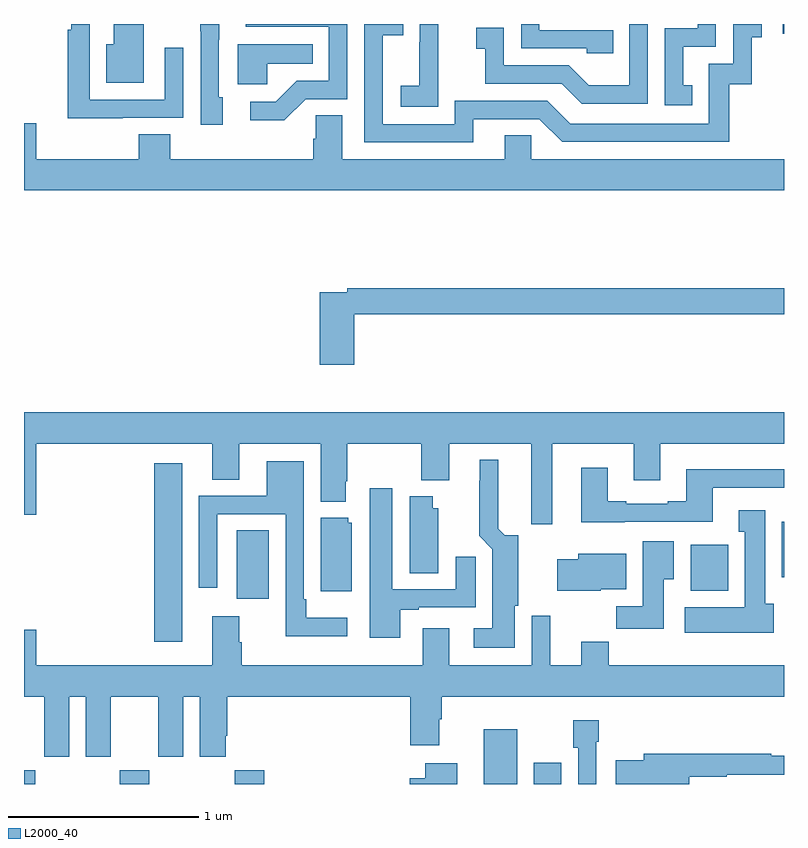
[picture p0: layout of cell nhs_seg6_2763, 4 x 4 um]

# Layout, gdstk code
import gdstk
lib = gdstk.Library(unit=1e-6, precision=1e-09)
def R(c, l, rs):  # rectangles x0, y0, x1, y1
    for r in rs: c.add(gdstk.rectangle(r[:2], r[2:], *l))
def P(c, l, *ps):  # polygons
    for p in ps: c.add(gdstk.Polygon(p, *l))
L2000_40 = (2000, 40)

nhs_seg6_2763 = lib.new_cell('nhs_seg6_2763')
R(nhs_seg6_2763, L2000_40, [(273,989.5,273.06,989.572), (273.505,989.5,273.66,989.572), (274.109,989.5,274.265,989.572), (275.42,989.5,275.596,989.788), (275.684,989.5,275.827,989.611), (273.686,990.249,273.832,991.189), (274.121,990.474,274.288,990.836), (276.509,990.518,276.706,990.76), (276.989,990.588,277,990.88), (276.993,993.45,277,993.5)])
P(nhs_seg6_2763, L2000_40, [(273.631,993.5),(273.473,993.5),(273.473,993.394),(273.434,993.394),(273.434,993.191),(273.631,993.191)],
  [(274.045,993.114),(274.026,993.114),(274.026,993.418),(274.027,993.418),(274.027,993.5),(273.928,993.5),(273.928,993.463),(273.93,993.463),(273.93,992.97),(274.045,992.97)],
  [(275.365,993),(275.712,993),(275.832,992.88),(276.712,992.88),(276.712,993.183),(276.83,993.183),(276.83,993.429),(276.883,993.429),(276.883,993.5),(276.732,993.5),(276.732,993.291),(276.603,993.291),(276.603,992.976),(275.874,992.976),(275.754,993.096),(275.268,993.096),(275.268,992.973),(274.887,992.973),(274.887,993.442),(274.997,993.442),(274.997,993.5),(274.791,993.5),(274.791,992.877),(275.365,992.877)],
  [(273.521,993.006),(273.837,993.006),(273.837,993.376),(273.741,993.376),(273.741,993.102),(273.345,993.102),(273.345,993.5),(273.248,993.5),(273.248,993.47),(273.229,993.47),(273.229,993.005),(273.521,993.005)],
  [(274.482,993.105),(274.701,993.105),(274.701,993.5),(274.167,993.5),(274.167,993.486),(274.605,993.486),(274.605,993.201),(274.436,993.201),(274.325,993.09),(274.191,993.09),(274.191,992.993),(274.369,992.993)],
  [(276.282,993.5),(276.186,993.5),(276.186,993.178),(275.972,993.178),(275.868,993.282),(275.526,993.282),(275.526,993.481),(275.379,993.481),(275.379,993.371),(275.428,993.371),(275.428,993.186),(275.831,993.186),(275.936,993.081),(276.282,993.081)],
  [(275.181,993.271),(275.18,993.271),(275.18,993.5),(275.082,993.5),(275.082,993.404),(275.081,993.404),(275.081,993.175),(274.983,993.175),(274.983,993.065),(275.181,993.065)],
  [(276.101,993.468),(275.712,993.468),(275.712,993.5),(275.616,993.5),(275.616,993.372),(275.961,993.372),(275.961,993.345),(276.101,993.345)],
  [(276.518,993.177),(276.469,993.177),(276.469,993.381),(276.642,993.381),(276.642,993.5),(276.546,993.5),(276.546,993.477),(276.372,993.477),(276.372,993.072),(276.518,993.072)],
  [(274.281,993.29),(274.52,993.29),(274.52,993.394),(274.124,993.394),(274.124,993.182),(274.281,993.182)],
  [(277,992.788),(275.67,992.788),(275.67,992.915),(275.531,992.915),(275.531,992.788),(274.675,992.788),(274.675,993.02),(274.536,993.02),(274.536,992.897),(274.523,992.897),(274.523,992.788),(273.77,992.788),(273.77,992.921),(273.605,992.921),(273.605,992.788),(273.064,992.788),(273.064,992.977),(273,992.977),(273,992.624),(277,992.624)],
  [(274.739,991.972),(277,991.972),(277,992.108),(274.702,992.108),(274.702,992.088),(274.556,992.088),(274.556,991.707),(274.739,991.707)],
  [(275.779,991.292),(276.209,991.292),(276.209,991.098),(276.349,991.098),(276.349,991.292),(277,991.292),(277,991.456),(273,991.456),(273,990.918),(273.064,990.918),(273.064,991.292),(273.992,991.292),(273.992,991.102),(274.132,991.102),(274.132,991.292),(274.562,991.292),(274.562,990.986),(274.693,990.986),(274.693,991.093),(274.701,991.093),(274.701,991.292),(275.092,991.292),(275.092,991.1),(275.239,991.1),(275.239,991.292),(275.669,991.292),(275.669,990.867),(275.779,990.867)],
  [(275.584,990.438),(275.602,990.438),(275.602,990.81),(275.53,990.81),(275.497,990.844),(275.497,991.207),(275.399,991.207),(275.399,991.097),(275.395,991.097),(275.395,990.806),(275.465,990.736),(275.465,990.319),(275.367,990.319),(275.367,990.218),(275.584,990.218)],
  [(274.702,990.376),(274.486,990.376),(274.486,990.472),(274.473,990.472),(274.473,991.198),(274.277,991.198),(274.277,991.017),(273.921,991.017),(273.921,990.534),(274.017,990.534),(274.017,990.921),(274.377,990.921),(274.377,990.278),(274.702,990.278)],
  [(276.161,990.879),(276.625,990.879),(276.625,991.059),(277,991.059),(277,991.156),(276.485,991.156),(276.485,990.988),(276.389,990.988),(276.389,990.975),(276.169,990.975),(276.169,990.988),(276.073,990.988),(276.073,991.165),(275.933,991.165),(275.933,990.878),(276.161,990.878)],
  [(274.981,990.417),(275.077,990.417),(275.077,990.429),(275.377,990.429),(275.377,990.697),(275.273,990.697),(275.273,990.525),(274.939,990.525),(274.939,991.057),(274.82,991.057),(274.82,990.27),(274.981,990.27)],
  [(275.179,990.951),(275.152,990.951),(275.152,991.015),(275.03,991.015),(275.03,990.61),(275.179,990.61)],
  [(276.946,990.45),(276.901,990.45),(276.901,990.94),(276.761,990.94),(276.761,990.827),(276.794,990.827),(276.794,990.43),(276.477,990.43),(276.477,990.296),(276.946,990.296)],
  [(274.726,990.876),(274.707,990.876),(274.707,990.901),(274.562,990.901),(274.562,990.515),(274.726,990.515)],
  [(276.367,990.577),(276.421,990.577),(276.421,990.778),(276.257,990.778),(276.257,990.436),(276.118,990.436),(276.118,990.318),(276.367,990.318)],
  [(276.036,990.524),(276.169,990.524),(276.169,990.712),(275.918,990.712),(275.918,990.682),(275.807,990.682),(275.807,990.518),(276.036,990.518)],
  [(273.238,989.96),(273.326,989.96),(273.326,989.643),(273.457,989.643),(273.457,989.96),(273.707,989.96),(273.707,989.643),(273.838,989.643),(273.838,989.96),(273.926,989.96),(273.926,989.643),(274.063,989.643),(274.063,989.755),(274.07,989.755),(274.07,989.96),(275.033,989.96),(275.033,989.703),(275.185,989.703),(275.185,989.84),(275.198,989.84),(275.198,989.96),(277,989.96),(277,990.124),(276.077,990.124),(276.077,990.248),(275.933,990.248),(275.933,990.124),(275.77,990.124),(275.77,990.385),(275.673,990.385),(275.673,990.124),(275.239,990.124),(275.239,990.319),(275.099,990.319),(275.099,990.124),(274.145,990.124),(274.145,990.245),(274.132,990.245),(274.132,990.382),(273.992,990.382),(273.992,990.124),(273.064,990.124),(273.064,990.313),(273,990.313),(273,989.96),(273.107,989.96),(273.107,989.643),(273.238,989.643)],
  [(276.012,989.723),(276.025,989.723),(276.025,989.836),(275.89,989.836),(275.89,989.691),(275.916,989.691),(275.916,989.5),(276.012,989.5)],
  [(276.502,989.538),(276.698,989.538),(276.698,989.549),(277,989.549),(277,989.648),(276.932,989.648),(276.932,989.659),(276.263,989.659),(276.263,989.625),(276.114,989.625),(276.114,989.5),(276.502,989.5)],
  [(275.281,989.608),(275.111,989.608),(275.111,989.53),(275.03,989.53),(275.03,989.5),(275.281,989.5)])

lib.write_gds('nhs_seg6_2763.gds')
